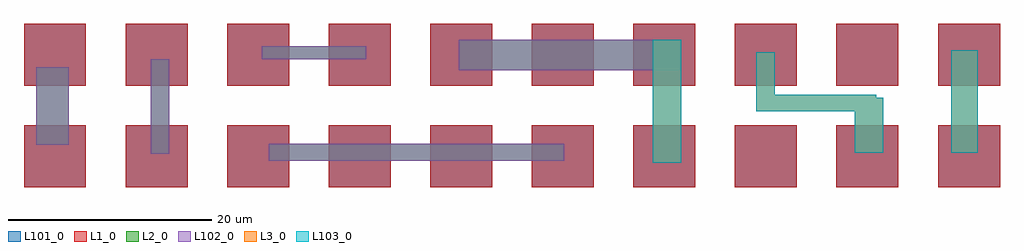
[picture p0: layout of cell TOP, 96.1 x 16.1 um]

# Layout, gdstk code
import gdstk
lib = gdstk.Library(unit=1e-6, precision=1e-09)
def R(c, l, rs):  # rectangles x0, y0, x1, y1
    for r in rs: c.add(gdstk.rectangle(r[:2], r[2:], *l))
def A(c, l, x, y, w, h, nx, ny, dx, dy):  # array of equal rectangles
    R(c, l, [(x+i*dx, y+j*dy, x+i*dx+w, y+j*dy+h) for i in range(nx) for j in range(ny)])
L1_0 = (1, 0)
L2_0 = (2, 0)
L3_0 = (3, 0)
L101_0 = (101, 0)
L102_0 = (102, 0)
L103_0 = (103, 0)

c_c1 = lib.new_cell('C1')
R(c_c1, L1_0, [(-2.9,-2.9,3.2,3.2)])

top = lib.new_cell('TOP')
R(top, L2_0, [(38.6,8.6,67.7,10.3), (27,9.3,28.8,18.6), (15.7,10.2,18.9,17.8), (57.3,17.5,79.1,20.5), (37.9,18.6,48.2,19.9)])
R(top, L3_0, [(76.4,8.4,79.2,20.5), (96.3,9.4,99.1,14.8), (105.8,9.4,108.4,19.5), (86.6,13.5,98.4,15.1), (86.6,14.7,88.4,19.3)])
A(top, L101_0, 14.5, 6, 6.1, 6.1, 10, 2, 10, 10)
R(top, L102_0, [(38.6,8.6,67.7,10.3), (27,9.3,28.8,18.6), (15.7,10.2,18.9,17.8), (57.3,17.5,79.1,20.5), (37.9,18.6,48.2,19.9)])
R(top, L103_0, [(76.4,8.4,79.2,20.5), (96.3,9.4,99.1,14.8), (105.8,9.4,108.4,19.5), (86.6,13.5,98.4,15.1), (86.6,14.7,88.4,19.3)])
r = gdstk.Reference(c_c1, (17.4,8.9)); r.repetition = gdstk.Repetition(10, 2, v1=(10,0), v2=(0,10)); top.add(r)

lib.write_gds('TOP.gds')
